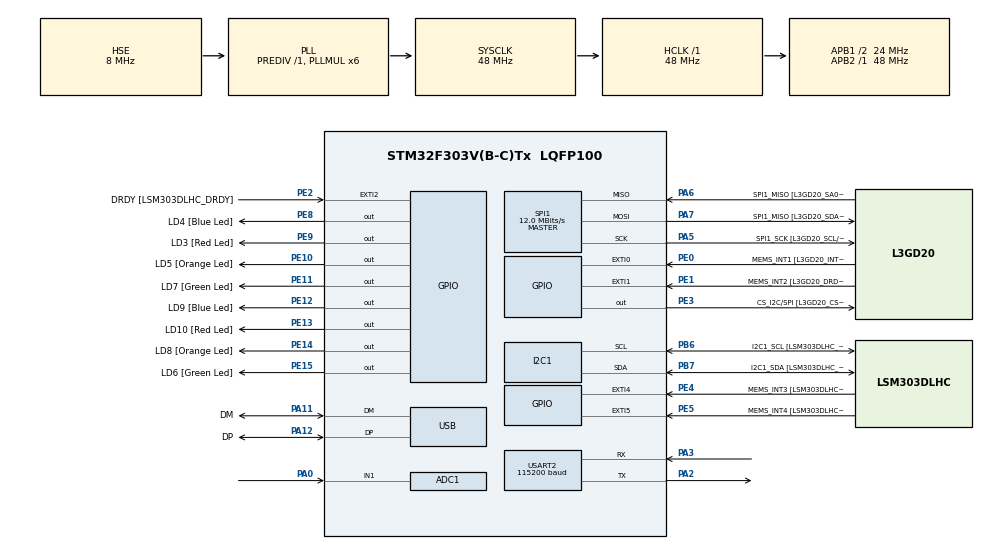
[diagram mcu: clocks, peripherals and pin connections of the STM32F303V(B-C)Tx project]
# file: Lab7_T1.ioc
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ADC1.Channel-0\#ChannelRegularConversion=ADC_CHANNEL_1
ADC1.NbrOfConversionFlag=1
ADC1.Offset-0\#ChannelRegularConversion=0
ADC1.OffsetNumber-0\#ChannelRegularConversion=ADC_OFFSET_NONE
ADC1.Rank-0\#ChannelRegularConversion=1
ADC1.SamplingTime-0\#ChannelRegularConversion=ADC_SAMPLETIME_1CYCLE_5
ADC1.master=1
I2C1.Timing=0x2000090E
I2C1.Timing-I2C=0x2000090E
Mcu.Family=STM32F3
Mcu.Name=STM32F303V(B-C)Tx
Mcu.Package=LQFP100
NVIC.ADC1_2_IRQn=true\:0\:0\:false\:false\:true\:true\:true\:true
NVIC.PriorityGroup=NVIC_PRIORITYGROUP_0
NVIC.USART2_IRQn=true\:0\:0\:false\:false\:true\:true\:true\:true
PA0.Mode=IN1-Single-Ended
PA0.Signal=ADC1_IN1
PA11.GPIO_Label=DM
PA11.Mode=Device
PA11.Signal=USB_DM
PA12.GPIO_Label=DP
PA12.Mode=Device
PA12.Signal=USB_DP
PA13.GPIO_Label=SWDIO
PA13.Mode=Serial_Wire
PA13.Signal=SYS_JTMS-SWDIO
PA14.GPIO_Label=SWCLK
PA14.Mode=Serial_Wire
PA14.Signal=SYS_JTCK-SWCLK
PA2.Mode=Asynchronous
PA2.Signal=USART2_TX
PA3.Mode=Asynchronous
PA3.Signal=USART2_RX
PA5.GPIO_Label=SPI1_SCK [L3GD20_SCL/SPC]
PA5.Mode=Full_Duplex_Master
PA5.Signal=SPI1_SCK
PA6.GPIO_Label=SPI1_MISO [L3GD20_SA0/SDO]
PA6.Mode=Full_Duplex_Master
PA6.Signal=SPI1_MISO
PA7.GPIO_Label=SPI1_MISO [L3GD20_SDA/SDI/SDO]
PA7.Mode=Full_Duplex_Master
PA7.Signal=SPI1_MOSI
PB3.GPIO_Label=SWO
PB3.Signal=SYS_JTDO-TRACESWO
PB6.GPIO_Label=I2C1_SCL [LSM303DLHC_SCL]
PB6.GPIO_Pu=GPIO_PULLUP
PB6.Mode=I2C
PB6.Signal=I2C1_SCL
PB7.GPIO_Label=I2C1_SDA [LSM303DLHC_SDA]
PB7.GPIO_Pu=GPIO_PULLUP
PB7.Mode=I2C
PB7.Signal=I2C1_SDA
PC14-OSC32_IN.GPIO_Label=OSC32_IN
PC14-OSC32_IN.Signal=RCC_OSC32_IN
PC15-OSC32_OUT.GPIO_Label=OSC32_OUT
PC15-OSC32_OUT.Signal=RCC_OSC32_OUT
PE0.GPIO_Label=MEMS_INT1 [L3GD20_INT1]
PE0.GPIO_ModeDefaultEXTI=GPIO_MODE_EVT_RISING
PE0.Signal=GPXTI0
PE1.GPIO_Label=MEMS_INT2 [L3GD20_DRDY/INT2]
PE1.GPIO_ModeDefaultEXTI=GPIO_MODE_EVT_RISING
PE1.Signal=GPXTI1
PE10.GPIO_Label=LD5 [Orange Led]
PE10.Signal=GPIO_Output
PE11.GPIO_Label=LD7 [Green Led]
PE11.Signal=GPIO_Output
PE12.GPIO_Label=LD9 [Blue Led]
PE12.Signal=GPIO_Output
PE13.GPIO_Label=LD10 [Red Led]
PE13.Signal=GPIO_Output
PE14.GPIO_Label=LD8 [Orange Led]
PE14.Signal=GPIO_Output
PE15.GPIO_Label=LD6 [Green Led]
PE15.Signal=GPIO_Output
PE2.GPIO_Label=DRDY [LSM303DLHC_DRDY]
PE2.GPIO_ModeDefaultEXTI=GPIO_MODE_EVT_RISING
PE2.Signal=GPXTI2
PE3.GPIO_Label=CS_I2C/SPI [L3GD20_CS_I2C/SPI]
PE3.Signal=GPIO_Output
PE4.GPIO_Label=MEMS_INT3 [LSM303DLHC_INT1]
PE4.GPIO_ModeDefaultEXTI=GPIO_MODE_EVT_RISING
PE4.Signal=GPXTI4
PE5.GPIO_Label=MEMS_INT4 [LSM303DLHC_INT2]
PE5.GPIO_ModeDefaultEXTI=GPIO_MODE_EVT_RISING
PE5.Signal=GPXTI5
PE8.GPIO_Label=LD4 [Blue Led]
PE8.Signal=GPIO_Output
PE9.GPIO_Label=LD3 [Red Led]
PE9.Signal=GPIO_Output
PF0-OSC_IN.GPIO_Label=OSC_IN
PF0-OSC_IN.Mode=HSE-External-Clock-Source
PF0-OSC_IN.Signal=RCC_OSC_IN
PF1-OSC_OUT.GPIO_Label=OSC_OUT
PF1-OSC_OUT.Signal=RCC_OSC_OUT
ProjectManager.HeapSize=0x200
ProjectManager.StackSize=0x400
ProjectManager.TargetToolchain=CMake
RCC.AHBFreq_Value=48000000
RCC.APB1CLKDivider=RCC_HCLK_DIV2
RCC.APB1Freq_Value=24000000
RCC.APB1TimFreq_Value=48000000
RCC.APB2Freq_Value=48000000
RCC.APB2TimFreq_Value=48000000
RCC.CortexFreq_Value=48000000
RCC.HCLKFreq_Value=48000000
RCC.HSE_VALUE=8000000
RCC.HSI_VALUE=8000000
RCC.LSE_VALUE=32768
RCC.PLLMUL=RCC_PLL_MUL6
RCC.SYSCLKFreq_VALUE=48000000
RCC.SYSCLKSourceVirtual=RCC_SYSCLKSOURCE_PLLCLK
RCC.USBFreq_Value=48000000
SPI1.BaudRatePrescaler=SPI_BAUDRATEPRESCALER_4
SPI1.BaudRatePrescaler-Full_Duplex_Master=SPI_BAUDRATEPRESCALER_2
SPI1.CalculateBaudRate=12.0 MBits/s
SPI1.CalculateBaudRate-Full_Duplex_Master=24.0 MBits/s
SPI1.Direction=SPI_DIRECTION_2LINES
SPI1.Mode=SPI_MODE_MASTER
SPI1.Mode-Full_Duplex_Master=SPI_MODE_MASTER
SPI1.VirtualType=VM_MASTER
USART2.BaudRate=115200
USART2.VirtualMode-Asynchronous=VM_ASYNC
board=STM32F3DISCOVERY

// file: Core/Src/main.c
/* USER CODE BEGIN Header */
/**
  ******************************************************************************
  * @file           : main.c
  * @brief          : Lab 7 Task 1 - Reading Analog Sensor via ADC and UART
  ******************************************************************************
  * @attention
  *
  * Hardware Setup:
  * - Potentiometer connected to PA1 (ADC1_IN1)
  *   - Left pin -> 3.3V
  *   - Right pin -> GND
  *   - Middle pin (wiper) -> PA1
  * - UART on PA2/PA3 for debug output
  *
  ******************************************************************************
  */
/* USER CODE END Header */

#include "main.h"
#include <stdio.h>
#include <string.h>
#include <stdarg.h>
#include <stdbool.h>

/* USER CODE BEGIN PD */

#define ADC_BUFFER_SIZE 10      // Number of samples for averaging
#define ADC_REF_VOLTAGE 3300    // Reference voltage in millivolts (3.3V = 3300mV)
#define ADC_MAX_VALUE 4095      // 12-bit ADC max value

/* USER CODE END PD */

ADC_HandleTypeDef hadc1;

I2C_HandleTypeDef hi2c1;

SPI_HandleTypeDef hspi1;

UART_HandleTypeDef huart2;  // UART2 for debug

PCD_HandleTypeDef hpcd_USB_FS;

/* USER CODE BEGIN PV */

// UART buffer for printf
static char uart_buffer[256];

/* USER CODE END PV */

void SystemClock_Config(void);
static void MX_GPIO_Init(void);
static void MX_ADC1_Init(void);
static void MX_I2C1_Init(void);
static void MX_SPI1_Init(void);
static void MX_USB_PCD_Init(void);
static void MX_USART2_UART_Init(void);

/* USER CODE BEGIN PFP */

// ===== UART FUNCTIONS =====
void UART_Printf(const char *format, ...);
void UART_SendString(char *str);

// ===== ADC FUNCTIONS =====
uint32_t Read_ADC(void);
uint32_t Read_ADC_Averaged(void);
void Print_ADC_Value(uint32_t adc_value);

/* USER CODE END PFP */

/* USER CODE BEGIN 0 */

// ===== UART FUNCTIONS =====

/**
  * @brief Simplified printf using UART (without float)
  */
void UART_Printf(const char *format, ...)
{
    va_list args;
    va_start(args, format);
    vsnprintf(uart_buffer, sizeof(uart_buffer), format, args);
    va_end(args);

    HAL_UART_Transmit(&huart2, (uint8_t*)uart_buffer, strlen(uart_buffer), HAL_MAX_DELAY);
}

/**
  * @brief Send string over UART
  */
void UART_SendString(char *str)
{
    HAL_UART_Transmit(&huart2, (uint8_t*)str, strlen(str), HAL_MAX_DELAY);
}

// ===== ADC FUNCTIONS =====

/**
  * @brief Read ADC value from channel 1 (PA1)
  * @return 12-bit ADC value (0-4095)
  */
uint32_t Read_ADC(void)
{
    uint32_t adc_value = 0;

    // Start ADC conversion
    HAL_ADC_Start(&hadc1);

    // Wait for conversion to complete with timeout
    if (HAL_ADC_PollForConversion(&hadc1, 100) == HAL_OK)
    {
        adc_value = HAL_ADC_GetValue(&hadc1);
    }

    // Stop ADC
    HAL_ADC_Stop(&hadc1);

    return adc_value;
}

/**
  * @brief Read averaged ADC value (multiple samples)
  * @return Averaged 12-bit ADC value
  */
uint32_t Read_ADC_Averaged(void)
{
    uint32_t sum = 0;

    // Take multiple samples
    for (int i = 0; i < ADC_BUFFER_SIZE; i++)
    {
        sum += Read_ADC();
        HAL_Delay(1);  // Small delay between samples
    }

    return sum / ADC_BUFFER_SIZE;
}

/**
  * @brief Print ADC value with voltage (using integer math to avoid float issues)
  */
void Print_ADC_Value(uint32_t adc_value)
{
    // Calculate voltage in millivolts: (adc_value * 3300) / 4095
    uint32_t voltage_mv = (adc_value * ADC_REF_VOLTAGE) / ADC_MAX_VALUE;

    // Split into volts and millivolts for display
    uint32_t volts = voltage_mv / 1000;
    uint32_t millivolts = voltage_mv % 1000;

    UART_Printf("ADC: %4lu  |  Voltage: %lu.%03lu V\r\n",
                adc_value, volts, millivolts);
}

/* USER CODE END 0 */

int main(void)
{

    /* MCU Configuration--------------------------------------------------------*/

    /* Reset of all peripherals, Initializes the Flash interface and the Systick. */
    HAL_Init();

    /* Configure the system clock */
    SystemClock_Config();

    /* Initialize all configured peripherals */
    MX_GPIO_Init();
    MX_ADC1_Init();
    MX_I2C1_Init();
    MX_SPI1_Init();
    MX_USART2_UART_Init();
    MX_USB_PCD_Init();

    /* USER CODE BEGIN 2 */

    // Calibrate ADC (optional but recommended)
    HAL_ADCEx_Calibration_Start(&hadc1, ADC_SINGLE_ENDED);

    // Print header
    UART_Printf("\033[2J\033[H"); // Clear screen
    UART_Printf("========================================\r\n");
    UART_Printf("   LAB 7 TASK 1: ADC SENSOR READING\r\n");
    UART_Printf("========================================\r\n\n");
    UART_Printf("Potentiometer on PA1 (ADC1_IN1)\r\n");
    UART_Printf("ADC: 12-bit (0-4095) | Vref: 3.3V\r\n\n");
    UART_Printf("Reading every 500ms...\r\n\n");

    /* USER CODE END 2 */

    /* Infinite loop */
    while (1)
    {

        /* USER CODE BEGIN 3 */

        // Read ADC value (averaged for stability)
        uint32_t adc_value = Read_ADC_Averaged();

        // Print the value with voltage
        Print_ADC_Value(adc_value);

        // Wait before next reading
        HAL_Delay(50);
    }
    /* USER CODE END 3 */
}

void SystemClock_Config(void)
{
    RCC_OscInitTypeDef RCC_OscInitStruct = {0};
    RCC_ClkInitTypeDef RCC_ClkInitStruct = {0};
    RCC_PeriphCLKInitTypeDef PeriphClkInit = {0};

    /** Initializes the RCC Oscillators according to the specified parameters
    * in the RCC_OscInitTypeDef structure.
    */
    RCC_OscInitStruct.OscillatorType = RCC_OSCILLATORTYPE_HSI|RCC_OSCILLATORTYPE_HSE;
    RCC_OscInitStruct.HSEState = RCC_HSE_BYPASS;
    RCC_OscInitStruct.HSEPredivValue = RCC_HSE_PREDIV_DIV1;
    RCC_OscInitStruct.HSIState = RCC_HSI_ON;
    RCC_OscInitStruct.HSICalibrationValue = RCC_HSICALIBRATION_DEFAULT;
    RCC_OscInitStruct.PLL.PLLState = RCC_PLL_ON;
    RCC_OscInitStruct.PLL.PLLSource = RCC_PLLSOURCE_HSE;
    RCC_OscInitStruct.PLL.PLLMUL = RCC_PLL_MUL6;
    if (HAL_RCC_OscConfig(&RCC_OscInitStruct) != HAL_OK)
    {
        Error_Handler();
    }

    /** Initializes the CPU, AHB and APB buses clocks
    */
    RCC_ClkInitStruct.ClockType = RCC_CLOCKTYPE_HCLK|RCC_CLOCKTYPE_SYSCLK
                              |RCC_CLOCKTYPE_PCLK1|RCC_CLOCKTYPE_PCLK2;
    RCC_ClkInitStruct.SYSCLKSource = RCC_SYSCLKSOURCE_PLLCLK;
    RCC_ClkInitStruct.AHBCLKDivider = RCC_SYSCLK_DIV1;
    RCC_ClkInitStruct.APB1CLKDivider = RCC_HCLK_DIV2;
    RCC_ClkInitStruct.APB2CLKDivider = RCC_HCLK_DIV1;

    if (HAL_RCC_ClockConfig(&RCC_ClkInitStruct, FLASH_LATENCY_1) != HAL_OK)
    {
        Error_Handler();
    }
    PeriphClkInit.PeriphClockSelection = RCC_PERIPHCLK_USB|RCC_PERIPHCLK_I2C1
                              |RCC_PERIPHCLK_ADC12|RCC_PERIPHCLK_USART2;
    PeriphClkInit.Adc12ClockSelection = RCC_ADC12PLLCLK_DIV1;
    PeriphClkInit.I2c1ClockSelection = RCC_I2C1CLKSOURCE_HSI;
    PeriphClkInit.Usart2ClockSelection = RCC_USART2CLKSOURCE_PCLK1;
    PeriphClkInit.USBClockSelection = RCC_USBCLKSOURCE_PLL;
    if (HAL_RCCEx_PeriphCLKConfig(&PeriphClkInit) != HAL_OK)
    {
        Error_Handler();
    }
}

static void MX_ADC1_Init(void)
{
    ADC_MultiModeTypeDef multimode = {0};
    ADC_ChannelConfTypeDef sConfig = {0};

    /** Common config
    */
    hadc1.Instance = ADC1;
    hadc1.Init.ClockPrescaler = ADC_CLOCK_ASYNC_DIV1;
    hadc1.Init.Resolution = ADC_RESOLUTION_12B;
    hadc1.Init.ScanConvMode = ADC_SCAN_DISABLE;
    hadc1.Init.ContinuousConvMode = DISABLE;
    hadc1.Init.DiscontinuousConvMode = DISABLE;
    hadc1.Init.ExternalTrigConvEdge = ADC_EXTERNALTRIGCONVEDGE_NONE;
    hadc1.Init.ExternalTrigConv = ADC_SOFTWARE_START;
    hadc1.Init.DataAlign = ADC_DATAALIGN_RIGHT;
    hadc1.Init.NbrOfConversion = 1;
    hadc1.Init.DMAContinuousRequests = DISABLE;
    hadc1.Init.EOCSelection = ADC_EOC_SINGLE_CONV;
    hadc1.Init.LowPowerAutoWait = DISABLE;
    hadc1.Init.Overrun = ADC_OVR_DATA_OVERWRITTEN;
    if (HAL_ADC_Init(&hadc1) != HAL_OK)
    {
        Error_Handler();
    }

    /** Configure the ADC multi-mode
    */
    multimode.Mode = ADC_MODE_INDEPENDENT;
    if (HAL_ADCEx_MultiModeConfigChannel(&hadc1, &multimode) != HAL_OK)
    {
        Error_Handler();
    }

    /** Configure Regular Channel - ADC1_IN1 on PA1
    */
    sConfig.Channel = ADC_CHANNEL_1;  // PA1 is ADC1_IN1
    sConfig.Rank = ADC_REGULAR_RANK_1;
    sConfig.SamplingTime = ADC_SAMPLETIME_601CYCLES_5;  // Longer sampling time for stability
    sConfig.SingleDiff = ADC_SINGLE_ENDED;
    if (HAL_ADC_ConfigChannel(&hadc1, &sConfig) != HAL_OK)
    {
        Error_Handler();
    }

}

static void MX_I2C1_Init(void)
{
    hi2c1.Instance = I2C1;
    hi2c1.Init.Timing = 0x2000090E;
    hi2c1.Init.OwnAddress1 = 0;
    hi2c1.Init.AddressingMode = I2C_ADDRESSINGMODE_7BIT;
    hi2c1.Init.DualAddressMode = I2C_DUALADDRESS_DISABLE;
    hi2c1.Init.OwnAddress2 = 0;
    hi2c1.Init.OwnAddress2Masks = I2C_OA2_NOMASK;
    hi2c1.Init.GeneralCallMode = I2C_GENERALCALL_DISABLE;
    hi2c1.Init.NoStretchMode = I2C_NOSTRETCH_DISABLE;

    if (HAL_I2C_Init(&hi2c1) != HAL_OK)
    {
        Error_Handler();
    }

    if (HAL_I2CEx_ConfigAnalogFilter(&hi2c1, I2C_ANALOGFILTER_ENABLE) != HAL_OK)
    {
        Error_Handler();
    }

    if (HAL_I2CEx_ConfigDigitalFilter(&hi2c1, 0) != HAL_OK)
    {
        Error_Handler();
    }
}

static void MX_SPI1_Init(void)
{
    /* SPI1 parameter configuration*/
    hspi1.Instance = SPI1;
    hspi1.Init.Mode = SPI_MODE_MASTER;
    hspi1.Init.Direction = SPI_DIRECTION_2LINES;
    hspi1.Init.DataSize = SPI_DATASIZE_4BIT;
    hspi1.Init.CLKPolarity = SPI_POLARITY_LOW;
    hspi1.Init.CLKPhase = SPI_PHASE_1EDGE;
    hspi1.Init.NSS = SPI_NSS_SOFT;
    hspi1.Init.BaudRatePrescaler = SPI_BAUDRATEPRESCALER_4;
    hspi1.Init.FirstBit = SPI_FIRSTBIT_MSB;
    hspi1.Init.TIMode = SPI_TIMODE_DISABLE;
    hspi1.Init.CRCCalculation = SPI_CRCCALCULATION_DISABLE;
    hspi1.Init.CRCPolynomial = 7;
    hspi1.Init.CRCLength = SPI_CRC_LENGTH_DATASIZE;
    hspi1.Init.NSSPMode = SPI_NSS_PULSE_ENABLE;

    if (HAL_SPI_Init(&hspi1) != HAL_OK)
    {
        Error_Handler();
    }
}

static void MX_USART2_UART_Init(void)
{
    huart2.Instance = USART2;
    huart2.Init.BaudRate = 115200;
    huart2.Init.WordLength = UART_WORDLENGTH_8B;
    huart2.Init.StopBits = UART_STOPBITS_1;
    huart2.Init.Parity = UART_PARITY_NONE;
    huart2.Init.Mode = UART_MODE_TX_RX;
    huart2.Init.HwFlowCtl = UART_HWCONTROL_NONE;
    huart2.Init.OverSampling = UART_OVERSAMPLING_16;
    huart2.Init.OneBitSampling = UART_ONE_BIT_SAMPLE_DISABLE;

    if (HAL_UART_Init(&huart2) != HAL_OK)
    {
        Error_Handler();
    }
}

static void MX_USB_PCD_Init(void)
{
    hpcd_USB_FS.Instance = USB;
    hpcd_USB_FS.Init.dev_endpoints = 8;
    hpcd_USB_FS.Init.speed = PCD_SPEED_FULL;
    hpcd_USB_FS.Init.phy_itface = PCD_PHY_EMBEDDED;
    hpcd_USB_FS.Init.low_power_enable = DISABLE;
    hpcd_USB_FS.Init.battery_charging_enable = DISABLE;

    if (HAL_PCD_Init(&hpcd_USB_FS) != HAL_OK)
    {
        Error_Handler();
    }
}

static void MX_GPIO_Init(void)
{
    GPIO_InitTypeDef GPIO_InitStruct = {0};

    /* GPIO Ports Clock Enable */
    __HAL_RCC_GPIOE_CLK_ENABLE();
    __HAL_RCC_GPIOC_CLK_ENABLE();
    __HAL_RCC_GPIOF_CLK_ENABLE();
    __HAL_RCC_GPIOA_CLK_ENABLE();
    __HAL_RCC_GPIOB_CLK_ENABLE();

    /* Configure GPIO pin Output Level for onboard LEDs */
    HAL_GPIO_WritePin(GPIOE, CS_I2C_SPI_Pin|LD4_Pin|LD3_Pin|LD5_Pin
                          |LD7_Pin|LD9_Pin|LD10_Pin|LD8_Pin
                          |LD6_Pin, GPIO_PIN_RESET);

    /* Configure GPIO pins for onboard peripherals */
    GPIO_InitStruct.Pin = DRDY_Pin|MEMS_INT3_Pin|MEMS_INT4_Pin|MEMS_INT1_Pin
                          |MEMS_INT2_Pin;
    GPIO_InitStruct.Mode = GPIO_MODE_EVT_RISING;
    GPIO_InitStruct.Pull = GPIO_NOPULL;
    HAL_GPIO_Init(GPIOE, &GPIO_InitStruct);

    /* Configure GPIO pins for onboard LEDs */
    GPIO_InitStruct.Pin = CS_I2C_SPI_Pin|LD4_Pin|LD3_Pin|LD5_Pin
                          |LD7_Pin|LD9_Pin|LD10_Pin|LD8_Pin
                          |LD6_Pin;
    GPIO_InitStruct.Mode = GPIO_MODE_OUTPUT_PP;
    GPIO_InitStruct.Pull = GPIO_NOPULL;
    GPIO_InitStruct.Speed = GPIO_SPEED_FREQ_LOW;
    HAL_GPIO_Init(GPIOE, &GPIO_InitStruct);

    /* Configure PA1 as analog input for ADC */
    GPIO_InitStruct.Pin = GPIO_PIN_1;
    GPIO_InitStruct.Mode = GPIO_MODE_ANALOG;
    GPIO_InitStruct.Pull = GPIO_NOPULL;
    HAL_GPIO_Init(GPIOA, &GPIO_InitStruct);

    /* Configure PA2 (UART TX) as alternate function */
    GPIO_InitStruct.Pin = GPIO_PIN_2;
    GPIO_InitStruct.Mode = GPIO_MODE_AF_PP;
    GPIO_InitStruct.Pull = GPIO_PULLUP;
    GPIO_InitStruct.Speed = GPIO_SPEED_FREQ_HIGH;
    GPIO_InitStruct.Alternate = GPIO_AF7_USART2;
    HAL_GPIO_Init(GPIOA, &GPIO_InitStruct);

    /* Configure PA3 (UART RX) as alternate function */
    GPIO_InitStruct.Pin = GPIO_PIN_3;
    GPIO_InitStruct.Mode = GPIO_MODE_AF_PP;
    GPIO_InitStruct.Pull = GPIO_PULLUP;
    GPIO_InitStruct.Speed = GPIO_SPEED_FREQ_HIGH;
    GPIO_InitStruct.Alternate = GPIO_AF7_USART2;
    HAL_GPIO_Init(GPIOA, &GPIO_InitStruct);
}

void Error_Handler(void)
{
    __disable_irq();
    while (1)
    {
    }
}
